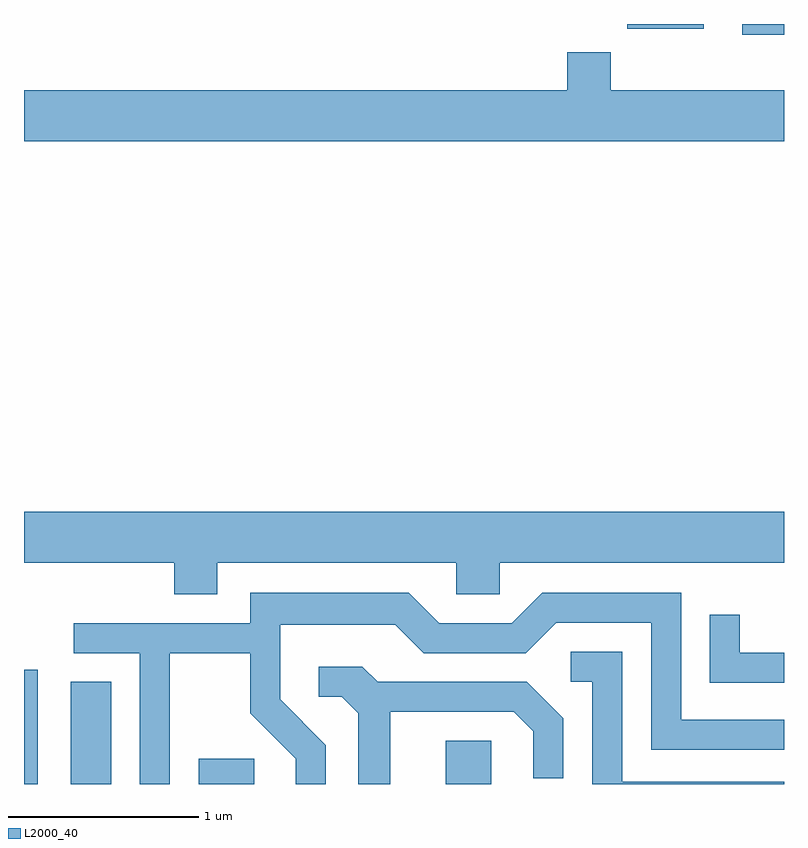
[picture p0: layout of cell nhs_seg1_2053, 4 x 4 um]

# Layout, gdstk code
import gdstk
lib = gdstk.Library(unit=1e-6, precision=1e-09)
def R(c, l, rs):  # rectangles x0, y0, x1, y1
    for r in rs: c.add(gdstk.rectangle(r[:2], r[2:], *l))
def P(c, l, *ps):  # polygons
    for p in ps: c.add(gdstk.Polygon(p, *l))
L2000_40 = (2000, 40)

nhs_seg1_2053 = lib.new_cell('nhs_seg1_2053')
R(nhs_seg1_2053, L2000_40, [(247.611,931.712,247.684,932.314), (247.856,931.712,248.069,932.249), (248.531,931.712,248.824,931.844), (249.831,931.712,250.069,931.939), (251.391,935.656,251.611,935.712), (250.786,935.686,251.189,935.712)])
P(nhs_seg1_2053, L2000_40, [(251.611,935.364),(250.699,935.364),(250.699,935.564),(250.471,935.564),(250.471,935.364),(247.611,935.364),(247.611,935.096),(251.611,935.096)],
  [(248.629,932.876),(249.886,932.876),(249.886,932.711),(250.114,932.711),(250.114,932.876),(251.611,932.876),(251.611,933.144),(247.611,933.144),(247.611,932.876),(248.401,932.876),(248.401,932.711),(248.629,932.711)],
  [(248.379,932.401),(248.801,932.401),(248.801,932.084),(249.041,931.844),(249.041,931.712),(249.199,931.712),(249.199,931.917),(248.959,932.157),(248.959,932.551),(249.564,932.551),(249.714,932.401),(250.252,932.401),(250.412,932.561),(250.911,932.561),(250.911,931.891),(251.611,931.891),(251.611,932.049),(251.069,932.049),(251.069,932.719),(250.339,932.719),(250.179,932.559),(249.797,932.559),(249.637,932.719),(248.801,932.719),(248.801,932.559),(247.873,932.559),(247.873,932.401),(248.221,932.401),(248.221,931.712),(248.379,931.712)],
  [(251.611,932.404),(251.379,932.404),(251.379,932.603),(251.221,932.603),(251.221,932.246),(251.611,932.246)],
  [(251.611,931.724),(250.759,931.724),(250.759,932.409),(250.488,932.409),(250.488,932.251),(250.601,932.251),(250.601,931.712),(251.611,931.712)],
  [(249.539,932.091),(250.189,932.091),(250.291,931.989),(250.291,931.743),(250.449,931.743),(250.449,932.057),(250.257,932.249),(249.472,932.249),(249.392,932.329),(249.163,932.329),(249.163,932.171),(249.284,932.171),(249.371,932.084),(249.371,931.712),(249.539,931.712)])

lib.write_gds('nhs_seg1_2053.gds')
